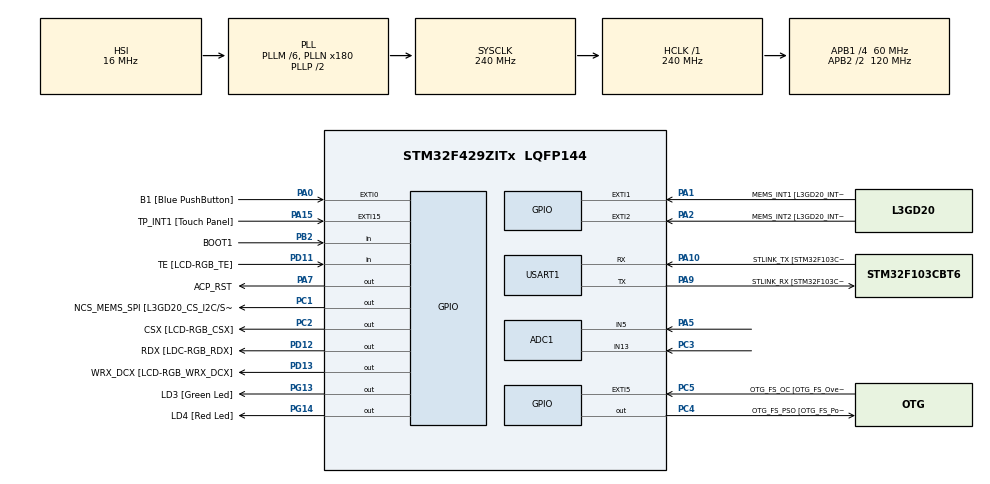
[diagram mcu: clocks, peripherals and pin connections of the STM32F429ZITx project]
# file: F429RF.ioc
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ADC1.Channel-0\#ChannelRegularConversion=ADC_CHANNEL_13
ADC1.Channel-1\#ChannelRegularConversion=ADC_CHANNEL_5
ADC1.ClockPrescaler=ADC_CLOCK_SYNC_PCLK_DIV4
ADC1.ContinuousConvMode=DISABLE
ADC1.DMAContinuousRequests=ENABLE
ADC1.NbrOfConversion=2
ADC1.NbrOfConversionFlag=1
ADC1.Rank-0\#ChannelRegularConversion=1
ADC1.Rank-1\#ChannelRegularConversion=2
ADC1.SamplingTime-0\#ChannelRegularConversion=ADC_SAMPLETIME_15CYCLES
ADC1.SamplingTime-1\#ChannelRegularConversion=ADC_SAMPLETIME_15CYCLES
ADC1.master=1
Dma.ADC1.0.Direction=DMA_PERIPH_TO_MEMORY
Dma.ADC1.0.FIFOMode=DMA_FIFOMODE_DISABLE
Dma.ADC1.0.Instance=DMA2_Stream0
Dma.ADC1.0.MemDataAlignment=DMA_MDATAALIGN_HALFWORD
Dma.ADC1.0.MemInc=DMA_MINC_ENABLE
Dma.ADC1.0.Mode=DMA_CIRCULAR
Dma.ADC1.0.PeriphDataAlignment=DMA_PDATAALIGN_HALFWORD
Dma.ADC1.0.PeriphInc=DMA_PINC_DISABLE
Dma.ADC1.0.Priority=DMA_PRIORITY_LOW
Dma.Request0=ADC1
Mcu.Family=STM32F4
Mcu.Name=STM32F429ZITx
Mcu.Package=LQFP144
NVIC.ADC_IRQn=true\:0\:0\:false\:false\:true\:true\:true\:true
NVIC.DMA2_Stream0_IRQn=true\:0\:0\:false\:false\:true\:false\:true\:true
NVIC.PriorityGroup=NVIC_PRIORITYGROUP_0
NVIC.TIM1_UP_TIM10_IRQn=true\:0\:0\:false\:false\:true\:true\:true\:true
NVIC.USART1_IRQn=true\:0\:0\:false\:false\:true\:true\:true\:true
PA0/WKUP.GPIO_Label=B1 [Blue PushButton]
PA0/WKUP.GPIO_ModeDefaultEXTI=GPIO_MODE_EVT_RISING
PA0/WKUP.GPIO_PuPd=GPIO_NOPULL
PA0/WKUP.Signal=GPXTI0
PA1.GPIO_Label=MEMS_INT1 [L3GD20_INT1]
PA1.GPIO_ModeDefaultEXTI=GPIO_MODE_EVT_RISING
PA1.GPIO_PuPd=GPIO_NOPULL
PA1.Signal=GPXTI1
PA10.GPIO_Label=STLINK_TX [STM32F103CBT6_PA2]
PA10.Mode=Asynchronous
PA10.Signal=USART1_RX
PA11.GPIO_Label=R4
PA11.GPIO_Mode=GPIO_MODE_AF_PP
PA11.GPIO_PuPd=GPIO_NOPULL
PA11.GPIO_Speed=GPIO_SPEED_FREQ_LOW
PA11.Signal=LTDC_R4
PA12.GPIO_Label=R5
PA12.GPIO_Mode=GPIO_MODE_AF_PP
PA12.GPIO_PuPd=GPIO_NOPULL
PA12.GPIO_Speed=GPIO_SPEED_FREQ_LOW
PA12.Signal=LTDC_R5
PA13.GPIO_Label=SWDIO
PA13.Signal=SYS_JTMS-SWDIO
PA14.GPIO_Label=SWCLK
PA14.Signal=SYS_JTCK-SWCLK
PA15.GPIO_Label=TP_INT1 [Touch Panel]
PA15.GPIO_ModeDefaultEXTI=GPIO_MODE_EVT_RISING
PA15.GPIO_PuPd=GPIO_NOPULL
PA15.Signal=GPXTI15
PA2.GPIO_Label=MEMS_INT2 [L3GD20_INT2]
PA2.GPIO_ModeDefaultEXTI=GPIO_MODE_EVT_RISING
PA2.GPIO_PuPd=GPIO_NOPULL
PA2.Signal=GPXTI2
PA3.GPIO_Label=B5
PA3.GPIO_Mode=GPIO_MODE_AF_PP
PA3.GPIO_PuPd=GPIO_NOPULL
PA3.GPIO_Speed=GPIO_SPEED_FREQ_LOW
PA3.Signal=LTDC_B5
PA4.GPIO_Label=VSYNC
PA4.GPIO_Mode=GPIO_MODE_AF_PP
PA4.GPIO_PuPd=GPIO_NOPULL
PA4.GPIO_Speed=GPIO_SPEED_FREQ_LOW
PA4.Signal=LTDC_VSYNC
PA5.Signal=ADCx_IN5
PA6.GPIO_Label=G2
PA6.GPIO_Mode=GPIO_MODE_AF_PP
PA6.GPIO_PuPd=GPIO_NOPULL
PA6.GPIO_Speed=GPIO_SPEED_FREQ_LOW
PA6.Signal=LTDC_G2
PA7.GPIO_Label=ACP_RST
PA7.GPIO_Mode=GPIO_MODE_OUTPUT_PP
PA7.GPIO_PuPd=GPIO_NOPULL
PA7.GPIO_Speed=GPIO_SPEED_FREQ_LOW
PA7.Signal=GPIO_Output
PA8.GPIO_Label=I2C3_SCL [ACP/RF_SCL]
PA8.GPIO_Mode=GPIO_MODE_AF_OD
PA8.GPIO_PuPd=GPIO_NOPULL
PA8.GPIO_Speed=GPIO_SPEED_FREQ_LOW
PA8.Signal=I2C3_SCL
PA9.GPIO_Label=STLINK_RX [STM32F103CBT6_PA3]
PA9.Mode=Asynchronous
PA9.Signal=USART1_TX
PB0.GPIO_Label=R3
PB0.GPIO_Mode=GPIO_MODE_AF_PP
PB0.GPIO_PuPd=GPIO_NOPULL
PB0.GPIO_Speed=GPIO_SPEED_FREQ_LOW
PB0.Signal=LTDC_R3
PB1.GPIO_Label=R6
PB1.GPIO_Mode=GPIO_MODE_AF_PP
PB1.GPIO_PuPd=GPIO_NOPULL
PB1.GPIO_Speed=GPIO_SPEED_FREQ_LOW
PB1.Signal=LTDC_R6
PB10.GPIO_Label=G4
PB10.GPIO_Mode=GPIO_MODE_AF_PP
PB10.GPIO_PuPd=GPIO_NOPULL
PB10.GPIO_Speed=GPIO_SPEED_FREQ_LOW
PB10.Signal=LTDC_G4
PB11.GPIO_Label=G5
PB11.GPIO_Mode=GPIO_MODE_AF_PP
PB11.GPIO_PuPd=GPIO_NOPULL
PB11.GPIO_Speed=GPIO_SPEED_FREQ_LOW
PB11.Signal=LTDC_G5
PB12.GPIO_Label=OTG_HS_ID
PB12.GPIO_Mode=GPIO_MODE_AF_PP
PB12.GPIO_PuPd=GPIO_NOPULL
PB12.GPIO_Speed=GPIO_SPEED_FREQ_LOW
PB12.Signal=USB_OTG_HS_ID
PB13.GPIO_Label=VBUS_HS
PB13.GPIO_Mode=GPIO_MODE_INPUT
PB13.GPIO_PuPd=GPIO_NOPULL
PB13.Signal=USB_OTG_HS_VBUS
PB14.GPIO_Label=OTG_HS_DM
PB14.GPIO_Mode=GPIO_MODE_AF_PP
PB14.GPIO_PuPd=GPIO_NOPULL
PB14.GPIO_Speed=GPIO_SPEED_FREQ_LOW
PB14.Signal=USB_OTG_HS_DM
PB15.GPIO_Label=OTG_HS_DP
PB15.GPIO_Mode=GPIO_MODE_AF_PP
PB15.GPIO_PuPd=GPIO_NOPULL
PB15.GPIO_Speed=GPIO_SPEED_FREQ_LOW
PB15.Signal=USB_OTG_HS_DP
PB2/BOOT1.GPIO_Label=BOOT1
PB2/BOOT1.GPIO_Mode=GPIO_MODE_INPUT
PB2/BOOT1.GPIO_PuPd=GPIO_NOPULL
PB2/BOOT1.Signal=GPIO_Input
PB5.GPIO_Label=SDCKE1
PB5.GPIO_Mode=GPIO_MODE_AF_PP
PB5.GPIO_PuPd=GPIO_NOPULL
PB5.GPIO_Speed=GPIO_SPEED_FREQ_VERY_HIGH
PB5.Signal=FMC_SDCKE1
PB6.GPIO_Label=SDNE1 [SDRAM_CS]
PB6.GPIO_Mode=GPIO_MODE_AF_PP
PB6.GPIO_PuPd=GPIO_NOPULL
PB6.GPIO_Speed=GPIO_SPEED_FREQ_VERY_HIGH
PB6.Signal=FMC_SDNE1
PB8.GPIO_Label=B6
PB8.GPIO_Mode=GPIO_MODE_AF_PP
PB8.GPIO_PuPd=GPIO_NOPULL
PB8.GPIO_Speed=GPIO_SPEED_FREQ_LOW
PB8.Signal=LTDC_B6
PB9.GPIO_Label=B7
PB9.GPIO_Mode=GPIO_MODE_AF_PP
PB9.GPIO_PuPd=GPIO_NOPULL
PB9.GPIO_Speed=GPIO_SPEED_FREQ_LOW
PB9.Signal=LTDC_B7
PC0.GPIO_Label=SDNWE
PC0.GPIO_Mode=GPIO_MODE_AF_PP
PC0.GPIO_PuPd=GPIO_NOPULL
PC0.GPIO_Speed=GPIO_SPEED_FREQ_VERY_HIGH
PC0.Signal=FMC_SDNWE
PC1.GPIO_Label=NCS_MEMS_SPI [L3GD20_CS_I2C/SPI]
PC1.GPIO_Mode=GPIO_MODE_OUTPUT_PP
PC1.GPIO_PuPd=GPIO_NOPULL
PC1.GPIO_Speed=GPIO_SPEED_FREQ_LOW
PC1.Signal=GPIO_Output
PC10.GPIO_Label=R2
PC10.GPIO_Mode=GPIO_MODE_AF_PP
PC10.GPIO_PuPd=GPIO_NOPULL
PC10.GPIO_Speed=GPIO_SPEED_FREQ_LOW
PC10.Signal=LTDC_R2
PC14/OSC32_IN.GPIO_Label=PC14-OSC32_IN
PC14/OSC32_IN.Signal=RCC_OSC32_IN
PC15/OSC32_OUT.GPIO_Label=PC15-OSC32_OUT
PC15/OSC32_OUT.Signal=RCC_OSC32_OUT
PC2.GPIO_Label=CSX [LCD-RGB_CSX]
PC2.GPIO_Mode=GPIO_MODE_OUTPUT_PP
PC2.GPIO_PuPd=GPIO_NOPULL
PC2.GPIO_Speed=GPIO_SPEED_FREQ_LOW
PC2.Signal=GPIO_Output
PC3.Signal=ADCx_IN13
PC4.GPIO_Label=OTG_FS_PSO [OTG_FS_PowerSwitchOn]
PC4.GPIO_Mode=GPIO_MODE_OUTPUT_PP
PC4.GPIO_PuPd=GPIO_NOPULL
PC4.GPIO_Speed=GPIO_SPEED_FREQ_LOW
PC4.Signal=GPIO_Output
PC5.GPIO_Label=OTG_FS_OC [OTG_FS_OverCurrent]
PC5.GPIO_ModeDefaultEXTI=GPIO_MODE_EVT_RISING
PC5.Signal=GPXTI5
PC6.GPIO_Label=HSYNC
PC6.GPIO_Mode=GPIO_MODE_AF_PP
PC6.GPIO_PuPd=GPIO_NOPULL
PC6.GPIO_Speed=GPIO_SPEED_FREQ_LOW
PC6.Signal=LTDC_HSYNC
PC7.GPIO_Label=G6
PC7.GPIO_Mode=GPIO_MODE_AF_PP
PC7.GPIO_PuPd=GPIO_NOPULL
PC7.GPIO_Speed=GPIO_SPEED_FREQ_LOW
PC7.Signal=LTDC_G6
PC9.GPIO_Label=I2C3_SDA [ACP/RF_SDA]
PC9.GPIO_Mode=GPIO_MODE_AF_OD
PC9.GPIO_PuPd=GPIO_NOPULL
PC9.GPIO_Speed=GPIO_SPEED_FREQ_LOW
PC9.Signal=I2C3_SDA
PD0.GPIO_Label=D2
PD0.GPIO_Mode=GPIO_MODE_AF_PP
PD0.GPIO_PuPd=GPIO_NOPULL
PD0.GPIO_Speed=GPIO_SPEED_FREQ_VERY_HIGH
PD0.Signal=FMC_D2_DA2
PD1.GPIO_Label=D3
PD1.GPIO_Mode=GPIO_MODE_AF_PP
PD1.GPIO_PuPd=GPIO_NOPULL
PD1.GPIO_Speed=GPIO_SPEED_FREQ_VERY_HIGH
PD1.Signal=FMC_D3_DA3
PD10.GPIO_Label=D15
PD10.GPIO_Mode=GPIO_MODE_AF_PP
PD10.GPIO_PuPd=GPIO_NOPULL
PD10.GPIO_Speed=GPIO_SPEED_FREQ_VERY_HIGH
PD10.Signal=FMC_D15_DA15
PD11.GPIO_Label=TE [LCD-RGB_TE]
PD11.GPIO_Mode=GPIO_MODE_INPUT
PD11.GPIO_PuPd=GPIO_NOPULL
PD11.Signal=GPIO_Input
PD12.GPIO_Label=RDX [LDC-RGB_RDX]
PD12.GPIO_Mode=GPIO_MODE_OUTPUT_PP
PD12.GPIO_PuPd=GPIO_NOPULL
PD12.GPIO_Speed=GPIO_SPEED_FREQ_LOW
PD12.Signal=GPIO_Output
PD13.GPIO_Label=WRX_DCX [LCD-RGB_WRX_DCX]
PD13.GPIO_Mode=GPIO_MODE_OUTPUT_PP
PD13.GPIO_PuPd=GPIO_NOPULL
PD13.GPIO_Speed=GPIO_SPEED_FREQ_LOW
PD13.Signal=GPIO_Output
PD14.GPIO_Label=D0
PD14.GPIO_Mode=GPIO_MODE_AF_PP
PD14.GPIO_PuPd=GPIO_NOPULL
PD14.GPIO_Speed=GPIO_SPEED_FREQ_VERY_HIGH
PD14.Signal=FMC_D0_DA0
PD15.GPIO_Label=D1
PD15.GPIO_Mode=GPIO_MODE_AF_PP
PD15.GPIO_PuPd=GPIO_NOPULL
PD15.GPIO_Speed=GPIO_SPEED_FREQ_VERY_HIGH
PD15.Signal=FMC_D1_DA1
PD3.GPIO_Label=G7
PD3.GPIO_Mode=GPIO_MODE_AF_PP
PD3.GPIO_PuPd=GPIO_NOPULL
PD3.GPIO_Speed=GPIO_SPEED_FREQ_LOW
PD3.Signal=LTDC_G7
PD6.GPIO_Label=B2
PD6.GPIO_Mode=GPIO_MODE_AF_PP
PD6.GPIO_PuPd=GPIO_NOPULL
PD6.GPIO_Speed=GPIO_SPEED_FREQ_LOW
PD6.Signal=LTDC_B2
PD8.GPIO_Label=D13
PD8.GPIO_Mode=GPIO_MODE_AF_PP
PD8.GPIO_PuPd=GPIO_NOPULL
PD8.GPIO_Speed=GPIO_SPEED_FREQ_VERY_HIGH
PD8.Signal=FMC_D13_DA13
PD9.GPIO_Label=D14
PD9.GPIO_Mode=GPIO_MODE_AF_PP
PD9.GPIO_PuPd=GPIO_NOPULL
PD9.GPIO_Speed=GPIO_SPEED_FREQ_VERY_HIGH
PD9.Signal=FMC_D14_DA14
PE0.GPIO_Label=NBL0 [SDRAM_LDQM]
PE0.GPIO_Mode=GPIO_MODE_AF_PP
PE0.GPIO_PuPd=GPIO_NOPULL
PE0.GPIO_Speed=GPIO_SPEED_FREQ_VERY_HIGH
PE0.Signal=FMC_NBL0
PE1.GPIO_Label=NBL1 [SDRAM_UDQM]
PE1.GPIO_Mode=GPIO_MODE_AF_PP
PE1.GPIO_PuPd=GPIO_NOPULL
PE1.GPIO_Speed=GPIO_SPEED_FREQ_VERY_HIGH
PE1.Signal=FMC_NBL1
PE10.GPIO_Label=D7
PE10.GPIO_Mode=GPIO_MODE_AF_PP
PE10.GPIO_PuPd=GPIO_NOPULL
PE10.GPIO_Speed=GPIO_SPEED_FREQ_VERY_HIGH
PE10.Signal=FMC_D7_DA7
PE11.GPIO_Label=D8
PE11.GPIO_Mode=GPIO_MODE_AF_PP
PE11.GPIO_PuPd=GPIO_NOPULL
PE11.GPIO_Speed=GPIO_SPEED_FREQ_VERY_HIGH
PE11.Signal=FMC_D8_DA8
PE12.GPIO_Label=D9
PE12.GPIO_Mode=GPIO_MODE_AF_PP
PE12.GPIO_PuPd=GPIO_NOPULL
PE12.GPIO_Speed=GPIO_SPEED_FREQ_VERY_HIGH
PE12.Signal=FMC_D9_DA9
PE13.GPIO_Label=D10
PE13.GPIO_Mode=GPIO_MODE_AF_PP
PE13.GPIO_PuPd=GPIO_NOPULL
PE13.GPIO_Speed=GPIO_SPEED_FREQ_VERY_HIGH
PE13.Signal=FMC_D10_DA10
PE14.GPIO_Label=D11
PE14.GPIO_Mode=GPIO_MODE_AF_PP
PE14.GPIO_PuPd=GPIO_NOPULL
PE14.GPIO_Speed=GPIO_SPEED_FREQ_VERY_HIGH
PE14.Signal=FMC_D11_DA11
PE15.GPIO_Label=D12
PE15.GPIO_Mode=GPIO_MODE_AF_PP
PE15.GPIO_PuPd=GPIO_NOPULL
PE15.GPIO_Speed=GPIO_SPEED_FREQ_VERY_HIGH
PE15.Signal=FMC_D12_DA12
PE7.GPIO_Label=D4
PE7.GPIO_Mode=GPIO_MODE_AF_PP
PE7.GPIO_PuPd=GPIO_NOPULL
PE7.GPIO_Speed=GPIO_SPEED_FREQ_VERY_HIGH
PE7.Signal=FMC_D4_DA4
PE8.GPIO_Label=D5
PE8.GPIO_Mode=GPIO_MODE_AF_PP
PE8.GPIO_PuPd=GPIO_NOPULL
PE8.GPIO_Speed=GPIO_SPEED_FREQ_VERY_HIGH
PE8.Signal=FMC_D5_DA5
PE9.GPIO_Label=D6
PE9.GPIO_Mode=GPIO_MODE_AF_PP
PE9.GPIO_PuPd=GPIO_NOPULL
PE9.GPIO_Speed=GPIO_SPEED_FREQ_VERY_HIGH
PE9.Signal=FMC_D6_DA6
PF0.GPIO_Label=A0
PF0.GPIO_Mode=GPIO_MODE_AF_PP
PF0.GPIO_PuPd=GPIO_NOPULL
PF0.GPIO_Speed=GPIO_SPEED_FREQ_VERY_HIGH
PF0.Signal=FMC_A0
PF1.GPIO_Label=A1
PF1.GPIO_Mode=GPIO_MODE_AF_PP
PF1.GPIO_PuPd=GPIO_NOPULL
PF1.GPIO_Speed=GPIO_SPEED_FREQ_VERY_HIGH
PF1.Signal=FMC_A1
PF10.GPIO_Label=ENABLE [LCD-RGB_ENABLE]
PF10.GPIO_Mode=GPIO_MODE_AF_PP
PF10.GPIO_PuPd=GPIO_NOPULL
PF10.GPIO_Speed=GPIO_SPEED_FREQ_LOW
PF10.Signal=LTDC_DE
PF11.GPIO_Label=SDNRAS
PF11.GPIO_Mode=GPIO_MODE_AF_PP
PF11.GPIO_PuPd=GPIO_NOPULL
PF11.GPIO_Speed=GPIO_SPEED_FREQ_VERY_HIGH
PF11.Signal=FMC_SDNRAS
PF12.GPIO_Label=A6
PF12.GPIO_Mode=GPIO_MODE_AF_PP
PF12.GPIO_PuPd=GPIO_NOPULL
PF12.GPIO_Speed=GPIO_SPEED_FREQ_VERY_HIGH
PF12.Signal=FMC_A6
PF13.GPIO_Label=A7
PF13.GPIO_Mode=GPIO_MODE_AF_PP
PF13.GPIO_PuPd=GPIO_NOPULL
PF13.GPIO_Speed=GPIO_SPEED_FREQ_VERY_HIGH
PF13.Signal=FMC_A7
PF14.GPIO_Label=A8
PF14.GPIO_Mode=GPIO_MODE_AF_PP
PF14.GPIO_PuPd=GPIO_NOPULL
PF14.GPIO_Speed=GPIO_SPEED_FREQ_VERY_HIGH
PF14.Signal=FMC_A8
PF15.GPIO_Label=A9
PF15.GPIO_Mode=GPIO_MODE_AF_PP
PF15.GPIO_PuPd=GPIO_NOPULL
PF15.GPIO_Speed=GPIO_SPEED_FREQ_VERY_HIGH
PF15.Signal=FMC_A9
PF2.GPIO_Label=A2
PF2.GPIO_Mode=GPIO_MODE_AF_PP
PF2.GPIO_PuPd=GPIO_NOPULL
PF2.GPIO_Speed=GPIO_SPEED_FREQ_VERY_HIGH
PF2.Signal=FMC_A2
PF3.GPIO_Label=A3
PF3.GPIO_Mode=GPIO_MODE_AF_PP
PF3.GPIO_PuPd=GPIO_NOPULL
PF3.GPIO_Speed=GPIO_SPEED_FREQ_VERY_HIGH
PF3.Signal=FMC_A3
PF4.GPIO_Label=A4
PF4.GPIO_Mode=GPIO_MODE_AF_PP
PF4.GPIO_PuPd=GPIO_NOPULL
PF4.GPIO_Speed=GPIO_SPEED_FREQ_VERY_HIGH
PF4.Signal=FMC_A4
PF5.GPIO_Label=A5
PF5.GPIO_Mode=GPIO_MODE_AF_PP
PF5.GPIO_PuPd=GPIO_NOPULL
PF5.GPIO_Speed=GPIO_SPEED_FREQ_VERY_HIGH
PF5.Signal=FMC_A5
PF7.GPIO_Label=SPI5_SCK [L3GD20_SCL/SPC]
PF7.GPIO_Mode=GPIO_MODE_AF_PP
PF7.GPIO_PuPd=GPIO_NOPULL
PF7.GPIO_Speed=GPIO_SPEED_FREQ_LOW
PF7.Signal=SPI5_SCK
PF8.GPIO_Label=SPI5_MISO [L3GD20_SDO]
PF8.GPIO_Mode=GPIO_MODE_AF_PP
PF8.GPIO_PuPd=GPIO_NOPULL
PF8.GPIO_Speed=GPIO_SPEED_FREQ_LOW
PF8.Signal=SPI5_MISO
PF9.GPIO_Label=SPI5_MOSI [L3GD20_SDA/SDI/SDO]
PF9.GPIO_Mode=GPIO_MODE_AF_PP
PF9.GPIO_PuPd=GPIO_NOPULL
PF9.GPIO_Speed=GPIO_SPEED_FREQ_LOW
PF9.Signal=SPI5_MOSI
PG0.GPIO_Label=A10
PG0.GPIO_Mode=GPIO_MODE_AF_PP
PG0.GPIO_PuPd=GPIO_NOPULL
PG0.GPIO_Speed=GPIO_SPEED_FREQ_VERY_HIGH
PG0.Signal=FMC_A10
PG1.GPIO_Label=A11
PG1.GPIO_Mode=GPIO_MODE_AF_PP
PG1.GPIO_PuPd=GPIO_NOPULL
PG1.GPIO_Speed=GPIO_SPEED_FREQ_VERY_HIGH
PG1.Signal=FMC_A11
PG10.GPIO_Label=G3
PG10.GPIO_Mode=GPIO_MODE_AF_PP
PG10.GPIO_PuPd=GPIO_NOPULL
PG10.GPIO_Speed=GPIO_SPEED_FREQ_LOW
PG10.Signal=LTDC_G3
PG11.GPIO_Label=B3
PG11.GPIO_Mode=GPIO_MODE_AF_PP
PG11.GPIO_PuPd=GPIO_NOPULL
PG11.GPIO_Speed=GPIO_SPEED_FREQ_LOW
PG11.Signal=LTDC_B3
PG12.GPIO_Label=B4
PG12.GPIO_Mode=GPIO_MODE_AF_PP
PG12.GPIO_PuPd=GPIO_NOPULL
PG12.GPIO_Speed=GPIO_SPEED_FREQ_LOW
PG12.Signal=LTDC_B4
PG13.GPIO_Label=LD3 [Green Led]
PG13.GPIO_Mode=GPIO_MODE_OUTPUT_PP
PG13.GPIO_PuPd=GPIO_NOPULL
PG13.GPIO_Speed=GPIO_SPEED_FREQ_LOW
PG13.Signal=GPIO_Output
PG14.GPIO_Label=LD4 [Red Led]
PG14.GPIO_Mode=GPIO_MODE_OUTPUT_PP
PG14.GPIO_PuPd=GPIO_NOPULL
PG14.GPIO_Speed=GPIO_SPEED_FREQ_LOW
PG14.Signal=GPIO_Output
PG15.GPIO_Label=SDNCAS
PG15.GPIO_Mode=GPIO_MODE_AF_PP
PG15.GPIO_PuPd=GPIO_NOPULL
PG15.GPIO_Speed=GPIO_SPEED_FREQ_VERY_HIGH
PG15.Signal=FMC_SDNCAS
PG4.GPIO_Label=BA0
PG4.GPIO_Mode=GPIO_MODE_AF_PP
PG4.GPIO_PuPd=GPIO_NOPULL
PG4.GPIO_Speed=GPIO_SPEED_FREQ_VERY_HIGH
PG4.Signal=FMC_A14_BA0
PG5.GPIO_Label=BA1
PG5.GPIO_Mode=GPIO_MODE_AF_PP
PG5.GPIO_PuPd=GPIO_NOPULL
PG5.GPIO_Speed=GPIO_SPEED_FREQ_VERY_HIGH
PG5.Signal=FMC_A15_BA1
PG6.GPIO_Label=R7
PG6.GPIO_Mode=GPIO_MODE_AF_PP
PG6.GPIO_PuPd=GPIO_NOPULL
PG6.GPIO_Speed=GPIO_SPEED_FREQ_LOW
PG6.Signal=LTDC_R7
PG7.GPIO_Label=DOTCLK [LCT-RGB_DOTCLK]
PG7.GPIO_Mode=GPIO_MODE_AF_PP
PG7.GPIO_PuPd=GPIO_NOPULL
PG7.GPIO_Speed=GPIO_SPEED_FREQ_LOW
PG7.Signal=LTDC_CLK
PG8.GPIO_Label=SDCLK
PG8.GPIO_Mode=GPIO_MODE_AF_PP
PG8.GPIO_PuPd=GPIO_NOPULL
PG8.GPIO_Speed=GPIO_SPEED_FREQ_VERY_HIGH
PG8.Signal=FMC_SDCLK
PH0/OSC_IN.GPIO_Label=PH0-OSC_IN
PH0/OSC_IN.Mode=HSE-External-Oscillator
PH0/OSC_IN.Signal=RCC_OSC_IN
PH1/OSC_OUT.GPIO_Label=PH1-OSC_OUT
PH1/OSC_OUT.Mode=HSE-External-Oscillator
PH1/OSC_OUT.Signal=RCC_OSC_OUT
ProjectManager.HeapSize=0x200
ProjectManager.StackSize=0x400
ProjectManager.TargetToolchain=STM32CubeIDE
RCC.48MHZClocksFreq_Value=68571428.57142857
RCC.AHBFreq_Value=240000000
RCC.APB1CLKDivider=RCC_HCLK_DIV4
RCC.APB1Freq_Value=60000000
RCC.APB1TimFreq_Value=120000000
RCC.APB2CLKDivider=RCC_HCLK_DIV2
RCC.APB2Freq_Value=120000000
RCC.APB2TimFreq_Value=240000000
RCC.CortexFreq_Value=240000000
RCC.HCLKFreq_Value=240000000
RCC.HSE_VALUE=8000000
RCC.HSI_VALUE=16000000
RCC.LSE_VALUE=32768
RCC.PLLM=6
RCC.PLLN=180
RCC.PLLQ=7
RCC.SYSCLKFreq_VALUE=240000000
RCC.SYSCLKSource=RCC_SYSCLKSOURCE_PLLCLK
RCC.VCOOutputFreq_Value=480000000
SH.ADCx_IN13.0=ADC1_IN13,IN13
SH.ADCx_IN5.0=ADC1_IN5,IN5
SH.FMC_A0.0=FMC_A0
SH.FMC_A1.0=FMC_A1
SH.FMC_A10.0=FMC_A10
SH.FMC_A11.0=FMC_A11
SH.FMC_A14_BA0.0=FMC_BA0
SH.FMC_A15_BA1.0=FMC_BA1
SH.FMC_A2.0=FMC_A2
SH.FMC_A3.0=FMC_A3
SH.FMC_A4.0=FMC_A4
SH.FMC_A5.0=FMC_A5
SH.FMC_A6.0=FMC_A6
SH.FMC_A7.0=FMC_A7
SH.FMC_A8.0=FMC_A8
SH.FMC_A9.0=FMC_A9
SH.FMC_D0_DA0.0=FMC_D0
SH.FMC_D10_DA10.0=FMC_D10
SH.FMC_D11_DA11.0=FMC_D11
SH.FMC_D12_DA12.0=FMC_D12
SH.FMC_D13_DA13.0=FMC_D13
SH.FMC_D14_DA14.0=FMC_D14
SH.FMC_D15_DA15.0=FMC_D15
SH.FMC_D1_DA1.0=FMC_D1
SH.FMC_D2_DA2.0=FMC_D2
SH.FMC_D3_DA3.0=FMC_D3
SH.FMC_D4_DA4.0=FMC_D4
SH.FMC_D5_DA5.0=FMC_D5
SH.FMC_D6_DA6.0=FMC_D6
SH.FMC_D7_DA7.0=FMC_D7
SH.FMC_D8_DA8.0=FMC_D8
SH.FMC_D9_DA9.0=FMC_D9
SH.FMC_NBL0.0=FMC_NBL0
SH.FMC_NBL1.0=FMC_NBL1
SH.FMC_SDCLK.0=FMC_SDCLK
SH.FMC_SDNCAS.0=FMC_SDNCAS
SH.FMC_SDNRAS.0=FMC_SDNRAS
SH.FMC_SDNWE.0=FMC_SDNWE
TIM1.AutoReloadPreload=TIM_AUTORELOAD_PRELOAD_ENABLE
TIM1.Period=10
TIM1.Prescaler=6
TIM1.TIM_MasterOutputTrigger=TIM_TRGO_UPDATE
USART1.VirtualMode=VM_ASYNC
VP_TIM1_VS_ClockSourceINT.Mode=Internal
board=STM32F429I-DISC1

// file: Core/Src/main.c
/* USER CODE BEGIN Header */
/**
  ******************************************************************************
  * @file           : main.c
  * @brief          : Main program body
  ******************************************************************************
  * @attention
  *
  * Copyright (c) 2024 STMicroelectronics.
  * All rights reserved.
  *
  * This software is licensed under terms that can be found in the LICENSE file
  * in the root directory of this software component.
  * If no LICENSE file comes with this software, it is provided AS-IS.
  *
  ******************************************************************************
  */
/* USER CODE END Header */
#include "main.h"

/* USER CODE BEGIN Includes */

#include <stdio.h>
#include <string.h>
#include <stdarg.h> //for va_list var arg functions

/* USER CODE END Includes */

ADC_HandleTypeDef hadc1;
DMA_HandleTypeDef hdma_adc1;

TIM_HandleTypeDef htim1;

UART_HandleTypeDef huart1;

/* USER CODE BEGIN PV */

uint16_t adraw[2];
uint8_t uart1_raw[10];
volatile int rx_flagA = 0;
volatile int rx_flagB = 0;

volatile int rx_flagC = 0;
volatile int rx_flagD = 0;

/* USER CODE END PV */

void SystemClock_Config(void);
static void MX_GPIO_Init(void);
static void MX_DMA_Init(void);
static void MX_ADC1_Init(void);
static void MX_USART1_UART_Init(void);
static void MX_TIM1_Init(void);
/* USER CODE BEGIN PFP */
void myprintf(const char *fmt, ...);
/* USER CODE END PFP */

/* USER CODE BEGIN 0 */

void myprintf(const char *fmt, ...) {
  static char buffer[100];
  va_list args;
  va_start(args, fmt);
  vsnprintf(buffer, sizeof(buffer), fmt, args);
  va_end(args);

  int len = strlen(buffer);
  HAL_UART_Transmit(&huart1, (uint8_t*)buffer, len, -1);

}

char writeBuf[100];

char strA1[50];
volatile uint16_t ad1_raw[5];
const int adcChannelCount = 2;
volatile int adcConversionComplete = 0;
volatile int lock = 0;
volatile uint32_t millis = 0;
volatile uint32_t conv_rate = 0;

uint32_t ad1 = 0;
uint32_t ad2 = 0;

int32_t sawtooth_buf1[200];
int32_t sawtooth_buf2[200];
int32_t signal_buf[200];
int32_t signal_buf1[200];
int32_t signal_buf2[200];
int32_t kalman_buf1[200];
int32_t kalman_buf2[200];
int32_t peaks_buff1[200];
int32_t peaks_buff2[200];
volatile int signal_buffer_in_queue = 1;
volatile int gidxB = 0;
volatile int gidxA = 0;

volatile uint32_t relative_sawtooth_voltage = 0;

int FindPeak(uint32_t *sig)
{
	int fidxA = 0;

	if((sig[0] < sig[1]) && (sig[2] < sig[1]))
	{
		return 1;
	}
	else
	{
		return 0;
	}
}

void insert_new_value(int32_t *buf, int32_t new_value)
{
	for(gidxA=0;gidxA<199;gidxA++)
	{
		buf[gidxA] = buf[gidxA+1];
	}

	buf[199] = new_value;
}

int flag_FallingEdge = 0;
int flag_saving = 0;

int file_name_index = 0;

int log_file_opened = 0;

static float ADC_OLD_Value;
static float P_k1_k1;

static float Q = 0.0001;//Q: Regulation noise, Q increases, dynamic response becomes faster, and convergence stability becomes worse
//static float Q = 0.0005;//Q: Regulation noise, Q increases, dynamic response becomes faster, and convergence stability becomes worse
static float R = 0.005; //R: Test noise, R increases, dynamic response becomes slower, convergence stability becomes better
//static float R = 0.2;
static float Kg = 0;
static float P_k_k1 = 0.5;
static float kalman_adc_old=0;
static int kalman_adc_int = 0;

unsigned long kalman_filter(unsigned long ADC_Value)
{
    float x_k1_k1,x_k_k1;
    //static float ADC_OLD_Value;
    float Z_k;

    float kalman_adc;

    Z_k = ADC_Value;
    x_k1_k1 = kalman_adc_old;

    x_k_k1 = x_k1_k1;
    P_k_k1 = P_k1_k1 + Q;

    Kg = P_k_k1/(P_k_k1 + R);

    kalman_adc = x_k_k1 + Kg * (Z_k - kalman_adc_old);
    P_k1_k1 = (1 - Kg)*P_k_k1;
    P_k_k1 = P_k1_k1;

    ADC_OLD_Value = ADC_Value;
    kalman_adc_old = kalman_adc;
    kalman_adc_int = (int)kalman_adc;
    return kalman_adc;
}

int getSimplifiedSlope(int32_t *buf)
{
	int32_t avg1 = (buf[0] + buf[1] + buf[2] + buf[3] + buf[4]) / 5;
	int32_t avg2 = (buf[5] + buf[6] + buf[7] + buf[8] + buf[9]) / 5;

	if((avg1 - avg2) > 1000)
	{
		return 1;
	}
	else
	{
		return 0;
	}
}

int max = 0;
int min = 5000;

int gmaxA = 0;
int gminA = 0;
int midlineA = 0;
int dripOff = 0;

int32_t GetMidLine(int32_t *gbuff, uint32_t sz)
{
	int lidxA = 0;

	for(lidxA = 1; lidxA<(sz - 1 ); lidxA++)
	{
		if(gbuff[lidxA] > max)
		{
			max = gbuff[lidxA];
		}
	}

	for(lidxA = 1; lidxA<(sz - 1 ); lidxA++)
	{
		if(gbuff[lidxA] < min)
		{
			min = gbuff[lidxA];
		}
	}

	return (((max - min)/2) + min);
}

void HAL_ADC_ConvCpltCallback(ADC_HandleTypeDef* hadc)
{
	adcConversionComplete = 1;
	ad1 = adraw[1]; // HAL_ADC_GetValue(&hadc1);
	ad2 = adraw[0]; // HAL_ADC_GetValue(&hadc1);
	conv_rate++;

	//insert_new_value(sawtooth_buf, (int32_t)ad1);
	//insert_new_value(signal_buf, (int32_t)ad2);

	if(rx_flagA == 0)
	{
		if(gidxB == 200)
		{
			if(signal_buffer_in_queue == 1)
			{
				signal_buffer_in_queue = 2;
			}
			else
			{
				signal_buffer_in_queue = 1;
			}
			gidxB = 0;
		}

		if(gidxB > 5)
		{
			if(gmaxA < kalman_buf1[gidxB])
			{
				gmaxA = kalman_buf1[gidxB];
			}

			if(gminA > kalman_buf1[gidxB])
			{
				gminA = kalman_buf1[gidxB];
			}

//			if((sawtooth_buf1[gidxB - 1] - sawtooth_buf1[gidxB]) > 500)
//			{
//				dripOff = 5;
//			}
		}

		if(gidxB == 195)
		{
			midlineA = (((gmaxA - gminA)/2) + gminA);
		}

		if(signal_buffer_in_queue == 1)
		{
			signal_buf1[gidxB] = ad1;
			sawtooth_buf1[gidxB] = ad2;
			kalman_buf1[gidxB] = kalman_filter(signal_buf1[gidxB]);

			if(gidxB==0)
			{
				gminA = kalman_buf1[0];
				gmaxA = kalman_buf1[0];
			}

			if((gidxB >= 5) && (gidxB < 190))
			{

				if(FindPeak(&kalman_buf1[gidxB-3]) && (kalman_buf1[gidxB-3] > midlineA))
				{
					if(dripOff == 0)
					{
						peaks_buff1[gidxB] = 2000;
						dripOff = 22;
						relative_sawtooth_voltage = (33000000 / 4096) * sawtooth_buf1[gidxB-3]; // sawtooth_buf1[gidxB-3]; //
					}
					else
					{
						peaks_buff1[gidxB] = 500;
					}
				}
				else
				{
					peaks_buff1[gidxB] = 500;
				}
			}
			else
			{
				peaks_buff1[gidxB] = 500;
			}
		}
		else
		{
			signal_buf2[gidxB] = ad1;
			sawtooth_buf2[gidxB] = ad2;
			kalman_buf2[gidxB] = kalman_filter(signal_buf2[gidxB]);

			if(gidxB==0)
			{
				gminA = kalman_buf2[0];
				gmaxA = kalman_buf2[0];
			}

			if((gidxB >= 5) && (gidxB < 190))
			{
				if(FindPeak(&kalman_buf2[gidxB-3]) && (kalman_buf2[gidxB-3] > midlineA))
				{
					if(dripOff == 0)
					{
						peaks_buff2[gidxB] = 2000;
						relative_sawtooth_voltage = (3300000 / 4096) * sawtooth_buf2[gidxB-3]; // sawtooth_buf2[gidxB-3]; //
						dripOff = 20;
					}
					else
					{
						peaks_buff2[gidxB] = 500;
					}
				}
				else
				{
					peaks_buff2[gidxB] = 500;
				}
			}
			else
			{
				peaks_buff2[gidxB] = 500;
			}
		}
		gidxB++;
		if(dripOff > 0)
		{
			dripOff--;
		}
	}

	// HAL_ADC_Start_IT(&hadc1);
	HAL_ADC_Start_DMA(&hadc1, (uint32_t *)adraw, adcChannelCount);
}

uint32_t crate = 0;

uint32_t __t2_cntr = 0;
uint32_t __dripA = 0;
uint32_t flag_saving_interval = 0;

void HAL_TIM_PeriodElapsedCallback(TIM_HandleTypeDef *htim)
{
	if(htim == &htim1)
	{
		if(__t2_cntr < 3)
		{
			__t2_cntr++;
		}
		else
		{
			__t2_cntr = 0;
		}

		if(__dripA > 0)
		{
			__dripA++;

			if(__dripA > 1500) // 500uS
			{
				flag_FallingEdge = 0;
				__dripA = 0;
			}
		}

		if(flag_saving_interval > 0)
		{
			if(flag_saving_interval == 1)
			{
				//endWriting(&log_file);
			}
			flag_saving_interval--;
		}
	}
}

void HAL_UART_RxCpltCallback(UART_HandleTypeDef *huart)
{
	if(huart == &huart1)
	{
		if(uart1_raw[0] == 'a')
		{
			rx_flagA = 1;
		}

		if(uart1_raw[0] == 'b')
		{
			rx_flagB = 1;
		}

		if(uart1_raw[0] == 'c')
		{
			rx_flagC = 1;
		}

		if(uart1_raw[0] == 'd')
		{
			rx_flagD = 1;
		}
	}
	HAL_UART_Receive_IT(&huart1, uart1_raw, 1);
}

void HAL_UART_TxCpltCallback(UART_HandleTypeDef *huart)
{
	;
}

/* USER CODE END 0 */

int main(void)
{
  /* USER CODE BEGIN 1 */

	uint32_t a_shot = 0;
	uint32_t b_shot = 0;

	int lidxA = 0;

  /* USER CODE END 1 */

  /* MCU Configuration--------------------------------------------------------*/

  /* Reset of all peripherals, Initializes the Flash interface and the Systick. */
  HAL_Init();

  /* Configure the system clock */
  SystemClock_Config();

  /* Initialize all configured peripherals */
  MX_GPIO_Init();
  MX_DMA_Init();
  MX_ADC1_Init();
  MX_USART1_UART_Init();
  MX_TIM1_Init();
  /* USER CODE BEGIN 2 */

  HAL_ADC_Start_DMA(&hadc1, (uint32_t *)adraw, adcChannelCount);
  HAL_TIM_Base_Start(&htim1);

  HAL_UART_Receive_IT(&huart1, uart1_raw, 1);

  HAL_Delay(500);

  myprintf("Starting ... \r\n");
  myprintf("... ... \r\n");

  int rateA = 0;

  /* USER CODE END 2 */

  /* Infinite loop */
  /* USER CODE BEGIN WHILE */
  while (1)
  {

	millis = HAL_GetTick();

	if(HAL_GetTick() > (a_shot + 500))
	{
	  a_shot = HAL_GetTick();
	  rateA = (conv_rate * 2);
	  conv_rate = 0;

	  float t = millis/1000.0;
		  if(rx_flagA == 1)
		  {
			  if(adcConversionComplete == 1)
			  {
				  adcConversionComplete = 0;
				  HAL_NVIC_DisableIRQ(DMA2_Stream0_IRQn);
				  for(lidxA=0;lidxA<200;lidxA++)
				  {
					  //myprintf("A0:%d, A1:%d\n", signal_buf[lidxA], sawtooth_buf[lidxA]);
					  if(signal_buffer_in_queue == 2)
					  {
						  //myprintf("A0:%d\n", signal_buf1[lidxA]);
						  myprintf("%d,%d,%d,%d,%d\r\n", signal_buf1[lidxA], sawtooth_buf1[lidxA], kalman_buf1[lidxA], peaks_buff1[lidxA], midlineA); //GetMidLine(kalman_buf1, 200));
					  }
					  else
					  {
						  //myprintf("A0:%d\n", signal_buf2[lidxA]);
						  myprintf("%d,%d,%d,%d,%d\r\n", signal_buf2[lidxA], sawtooth_buf2[lidxA], kalman_buf2[lidxA], peaks_buff2[lidxA], midlineA); // GetMidLine(kalman_buf2, 200));
					  }
				  }
			  }
			  HAL_Delay(2500);
			  gidxB = 0; // Fresh Copy of ADC
			  rx_flagA = 0;
			  rx_flagB = 0;
			  HAL_NVIC_EnableIRQ(DMA2_Stream0_IRQn);
		  }

		  if(rx_flagB == 1)
		  {
			  myprintf("Sawtooth Voltage : %d\r\n", relative_sawtooth_voltage);
			  HAL_Delay(100);
			  rx_flagB = 0;
		  }

		  if(rx_flagC == 1)
		  {
			  myprintf("Freq : %d  Rate: %d \r\n", ((relative_sawtooth_voltage * 4170) + 5500), rateA);
		  }

		  if(rx_flagD == 1)
		  {
			  rx_flagD = 0;
			  rx_flagC = 0;
		  }
		}

	}

    /* USER CODE END WHILE */

}

void SystemClock_Config(void)
{
  RCC_OscInitTypeDef RCC_OscInitStruct = {0};
  RCC_ClkInitTypeDef RCC_ClkInitStruct = {0};

  /** Configure the main internal regulator output voltage
  */
  __HAL_RCC_PWR_CLK_ENABLE();
  __HAL_PWR_VOLTAGESCALING_CONFIG(PWR_REGULATOR_VOLTAGE_SCALE1);

  /** Initializes the RCC Oscillators according to the specified parameters
  * in the RCC_OscInitTypeDef structure.
  */
  RCC_OscInitStruct.OscillatorType = RCC_OSCILLATORTYPE_HSI;
  RCC_OscInitStruct.HSIState = RCC_HSI_ON;
  RCC_OscInitStruct.HSICalibrationValue = RCC_HSICALIBRATION_DEFAULT;
  RCC_OscInitStruct.PLL.PLLState = RCC_PLL_ON;
  RCC_OscInitStruct.PLL.PLLSource = RCC_PLLSOURCE_HSI;
  RCC_OscInitStruct.PLL.PLLM = 6;
  RCC_OscInitStruct.PLL.PLLN = 180;
  RCC_OscInitStruct.PLL.PLLP = RCC_PLLP_DIV2;
  RCC_OscInitStruct.PLL.PLLQ = 7;
  if (HAL_RCC_OscConfig(&RCC_OscInitStruct) != HAL_OK)
  {
    Error_Handler();
  }

  /** Activate the Over-Drive mode
  */
  if (HAL_PWREx_EnableOverDrive() != HAL_OK)
  {
    Error_Handler();
  }

  /** Initializes the CPU, AHB and APB buses clocks
  */
  RCC_ClkInitStruct.ClockType = RCC_CLOCKTYPE_HCLK|RCC_CLOCKTYPE_SYSCLK
                              |RCC_CLOCKTYPE_PCLK1|RCC_CLOCKTYPE_PCLK2;
  RCC_ClkInitStruct.SYSCLKSource = RCC_SYSCLKSOURCE_PLLCLK;
  RCC_ClkInitStruct.AHBCLKDivider = RCC_SYSCLK_DIV1;
  RCC_ClkInitStruct.APB1CLKDivider = RCC_HCLK_DIV4;
  RCC_ClkInitStruct.APB2CLKDivider = RCC_HCLK_DIV2;

  if (HAL_RCC_ClockConfig(&RCC_ClkInitStruct, FLASH_LATENCY_5) != HAL_OK)
  {
    Error_Handler();
  }
}

static void MX_ADC1_Init(void)
{

  ADC_ChannelConfTypeDef sConfig = {0};

  /** Configure the global features of the ADC (Clock, Resolution, Data Alignment and number of conversion)
  */
  hadc1.Instance = ADC1;
  hadc1.Init.ClockPrescaler = ADC_CLOCK_SYNC_PCLK_DIV4;
  hadc1.Init.Resolution = ADC_RESOLUTION_12B;
  hadc1.Init.ScanConvMode = ENABLE;
  hadc1.Init.ContinuousConvMode = DISABLE;
  hadc1.Init.DiscontinuousConvMode = DISABLE;
  hadc1.Init.ExternalTrigConvEdge = ADC_EXTERNALTRIGCONVEDGE_NONE;
  hadc1.Init.ExternalTrigConv = ADC_SOFTWARE_START;
  hadc1.Init.DataAlign = ADC_DATAALIGN_RIGHT;
  hadc1.Init.NbrOfConversion = 2;
  hadc1.Init.DMAContinuousRequests = ENABLE;
  hadc1.Init.EOCSelection = ADC_EOC_SINGLE_CONV;
  if (HAL_ADC_Init(&hadc1) != HAL_OK)
  {
    Error_Handler();
  }

  /** Configure for the selected ADC regular channel its corresponding rank in the sequencer and its sample time.
  */
  sConfig.Channel = ADC_CHANNEL_13;
  sConfig.Rank = 1;
  sConfig.SamplingTime = ADC_SAMPLETIME_15CYCLES;
  if (HAL_ADC_ConfigChannel(&hadc1, &sConfig) != HAL_OK)
  {
    Error_Handler();
  }

  /** Configure for the selected ADC regular channel its corresponding rank in the sequencer and its sample time.
  */
  sConfig.Channel = ADC_CHANNEL_5;
  sConfig.Rank = 2;
  if (HAL_ADC_ConfigChannel(&hadc1, &sConfig) != HAL_OK)
  {
    Error_Handler();
  }

}

static void MX_TIM1_Init(void)
{

  TIM_ClockConfigTypeDef sClockSourceConfig = {0};
  TIM_MasterConfigTypeDef sMasterConfig = {0};

  htim1.Instance = TIM1;
  htim1.Init.Prescaler = 6;
  htim1.Init.CounterMode = TIM_COUNTERMODE_UP;
  htim1.Init.Period = 10;
  htim1.Init.ClockDivision = TIM_CLOCKDIVISION_DIV1;
  htim1.Init.RepetitionCounter = 0;
  htim1.Init.AutoReloadPreload = TIM_AUTORELOAD_PRELOAD_ENABLE;
  if (HAL_TIM_Base_Init(&htim1) != HAL_OK)
  {
    Error_Handler();
  }
  sClockSourceConfig.ClockSource = TIM_CLOCKSOURCE_INTERNAL;
  if (HAL_TIM_ConfigClockSource(&htim1, &sClockSourceConfig) != HAL_OK)
  {
    Error_Handler();
  }
  sMasterConfig.MasterOutputTrigger = TIM_TRGO_UPDATE;
  sMasterConfig.MasterSlaveMode = TIM_MASTERSLAVEMODE_DISABLE;
  if (HAL_TIMEx_MasterConfigSynchronization(&htim1, &sMasterConfig) != HAL_OK)
  {
    Error_Handler();
  }

}

static void MX_USART1_UART_Init(void)
{

  huart1.Instance = USART1;
  huart1.Init.BaudRate = 115200;
  huart1.Init.WordLength = UART_WORDLENGTH_8B;
  huart1.Init.StopBits = UART_STOPBITS_1;
  huart1.Init.Parity = UART_PARITY_NONE;
  huart1.Init.Mode = UART_MODE_TX_RX;
  huart1.Init.HwFlowCtl = UART_HWCONTROL_NONE;
  huart1.Init.OverSampling = UART_OVERSAMPLING_16;
  if (HAL_UART_Init(&huart1) != HAL_OK)
  {
    Error_Handler();
  }

}

static void MX_DMA_Init(void)
{

  /* DMA controller clock enable */
  __HAL_RCC_DMA2_CLK_ENABLE();

  /* DMA interrupt init */
  /* DMA2_Stream0_IRQn interrupt configuration */
  HAL_NVIC_SetPriority(DMA2_Stream0_IRQn, 0, 0);
  HAL_NVIC_EnableIRQ(DMA2_Stream0_IRQn);

}

static void MX_GPIO_Init(void)
{
  GPIO_InitTypeDef GPIO_InitStruct = {0};

  /* GPIO Ports Clock Enable */
  __HAL_RCC_GPIOC_CLK_ENABLE();
  __HAL_RCC_GPIOF_CLK_ENABLE();
  __HAL_RCC_GPIOH_CLK_ENABLE();
  __HAL_RCC_GPIOA_CLK_ENABLE();
  __HAL_RCC_GPIOB_CLK_ENABLE();
  __HAL_RCC_GPIOG_CLK_ENABLE();
  __HAL_RCC_GPIOE_CLK_ENABLE();
  __HAL_RCC_GPIOD_CLK_ENABLE();

  /*Configure GPIO pin Output Level */
  HAL_GPIO_WritePin(GPIOC, NCS_MEMS_SPI_Pin|CSX_Pin|OTG_FS_PSO_Pin, GPIO_PIN_RESET);

  /*Configure GPIO pin Output Level */
  HAL_GPIO_WritePin(ACP_RST_GPIO_Port, ACP_RST_Pin, GPIO_PIN_RESET);

  /*Configure GPIO pin Output Level */
  HAL_GPIO_WritePin(GPIOD, RDX_Pin|WRX_DCX_Pin, GPIO_PIN_RESET);

  /*Configure GPIO pin Output Level */
  HAL_GPIO_WritePin(GPIOG, LD3_Pin|LD4_Pin, GPIO_PIN_RESET);

  /*Configure GPIO pins : A0_Pin A1_Pin A2_Pin A3_Pin
                           A4_Pin A5_Pin SDNRAS_Pin A6_Pin
                           A7_Pin A8_Pin A9_Pin */
  GPIO_InitStruct.Pin = A0_Pin|A1_Pin|A2_Pin|A3_Pin
                          |A4_Pin|A5_Pin|SDNRAS_Pin|A6_Pin
                          |A7_Pin|A8_Pin|A9_Pin;
  GPIO_InitStruct.Mode = GPIO_MODE_AF_PP;
  GPIO_InitStruct.Pull = GPIO_NOPULL;
  GPIO_InitStruct.Speed = GPIO_SPEED_FREQ_VERY_HIGH;
  GPIO_InitStruct.Alternate = GPIO_AF12_FMC;
  HAL_GPIO_Init(GPIOF, &GPIO_InitStruct);

  /*Configure GPIO pins : SPI5_SCK_Pin SPI5_MISO_Pin SPI5_MOSI_Pin */
  GPIO_InitStruct.Pin = SPI5_SCK_Pin|SPI5_MISO_Pin|SPI5_MOSI_Pin;
  GPIO_InitStruct.Mode = GPIO_MODE_AF_PP;
  GPIO_InitStruct.Pull = GPIO_NOPULL;
  GPIO_InitStruct.Speed = GPIO_SPEED_FREQ_LOW;
  GPIO_InitStruct.Alternate = GPIO_AF5_SPI5;
  HAL_GPIO_Init(GPIOF, &GPIO_InitStruct);

  /*Configure GPIO pin : ENABLE_Pin */
  GPIO_InitStruct.Pin = ENABLE_Pin;
  GPIO_InitStruct.Mode = GPIO_MODE_AF_PP;
  GPIO_InitStruct.Pull = GPIO_NOPULL;
  GPIO_InitStruct.Speed = GPIO_SPEED_FREQ_LOW;
  GPIO_InitStruct.Alternate = GPIO_AF14_LTDC;
  HAL_GPIO_Init(ENABLE_GPIO_Port, &GPIO_InitStruct);

  /*Configure GPIO pin : SDNWE_Pin */
  GPIO_InitStruct.Pin = SDNWE_Pin;
  GPIO_InitStruct.Mode = GPIO_MODE_AF_PP;
  GPIO_InitStruct.Pull = GPIO_NOPULL;
  GPIO_InitStruct.Speed = GPIO_SPEED_FREQ_VERY_HIGH;
  GPIO_InitStruct.Alternate = GPIO_AF12_FMC;
  HAL_GPIO_Init(SDNWE_GPIO_Port, &GPIO_InitStruct);

  /*Configure GPIO pins : NCS_MEMS_SPI_Pin CSX_Pin OTG_FS_PSO_Pin */
  GPIO_InitStruct.Pin = NCS_MEMS_SPI_Pin|CSX_Pin|OTG_FS_PSO_Pin;
  GPIO_InitStruct.Mode = GPIO_MODE_OUTPUT_PP;
  GPIO_InitStruct.Pull = GPIO_NOPULL;
  GPIO_InitStruct.Speed = GPIO_SPEED_FREQ_LOW;
  HAL_GPIO_Init(GPIOC, &GPIO_InitStruct);

  /*Configure GPIO pins : B1_Pin MEMS_INT1_Pin MEMS_INT2_Pin TP_INT1_Pin */
  GPIO_InitStruct.Pin = B1_Pin|MEMS_INT1_Pin|MEMS_INT2_Pin|TP_INT1_Pin;
  GPIO_InitStruct.Mode = GPIO_MODE_EVT_RISING;
  GPIO_InitStruct.Pull = GPIO_NOPULL;
  HAL_GPIO_Init(GPIOA, &GPIO_InitStruct);

  /*Configure GPIO pins : B5_Pin VSYNC_Pin G2_Pin R4_Pin
                           R5_Pin */
  GPIO_InitStruct.Pin = B5_Pin|VSYNC_Pin|G2_Pin|R4_Pin
                          |R5_Pin;
  GPIO_InitStruct.Mode = GPIO_MODE_AF_PP;
  GPIO_InitStruct.Pull = GPIO_NOPULL;
  GPIO_InitStruct.Speed = GPIO_SPEED_FREQ_LOW;
  GPIO_InitStruct.Alternate = GPIO_AF14_LTDC;
  HAL_GPIO_Init(GPIOA, &GPIO_InitStruct);

  /*Configure GPIO pin : ACP_RST_Pin */
  GPIO_InitStruct.Pin = ACP_RST_Pin;
  GPIO_InitStruct.Mode = GPIO_MODE_OUTPUT_PP;
  GPIO_InitStruct.Pull = GPIO_NOPULL;
  GPIO_InitStruct.Speed = GPIO_SPEED_FREQ_LOW;
  HAL_GPIO_Init(ACP_RST_GPIO_Port, &GPIO_InitStruct);

  /*Configure GPIO pin : OTG_FS_OC_Pin */
  GPIO_InitStruct.Pin = OTG_FS_OC_Pin;
  GPIO_InitStruct.Mode = GPIO_MODE_EVT_RISING;
  GPIO_InitStruct.Pull = GPIO_NOPULL;
  HAL_GPIO_Init(OTG_FS_OC_GPIO_Port, &GPIO_InitStruct);

  /*Configure GPIO pins : R3_Pin R6_Pin */
  GPIO_InitStruct.Pin = R3_Pin|R6_Pin;
  GPIO_InitStruct.Mode = GPIO_MODE_AF_PP;
  GPIO_InitStruct.Pull = GPIO_NOPULL;
  GPIO_InitStruct.Speed = GPIO_SPEED_FREQ_LOW;
  GPIO_InitStruct.Alternate = GPIO_AF9_LTDC;
  HAL_GPIO_Init(GPIOB, &GPIO_InitStruct);

  /*Configure GPIO pin : BOOT1_Pin */
  GPIO_InitStruct.Pin = BOOT1_Pin;
  GPIO_InitStruct.Mode = GPIO_MODE_INPUT;
  GPIO_InitStruct.Pull = GPIO_NOPULL;
  HAL_GPIO_Init(BOOT1_GPIO_Port, &GPIO_InitStruct);

  /*Configure GPIO pins : A10_Pin A11_Pin BA0_Pin BA1_Pin
                           SDCLK_Pin SDNCAS_Pin */
  GPIO_InitStruct.Pin = A10_Pin|A11_Pin|BA0_Pin|BA1_Pin
                          |SDCLK_Pin|SDNCAS_Pin;
  GPIO_InitStruct.Mode = GPIO_MODE_AF_PP;
  GPIO_InitStruct.Pull = GPIO_NOPULL;
  GPIO_InitStruct.Speed = GPIO_SPEED_FREQ_VERY_HIGH;
  GPIO_InitStruct.Alternate = GPIO_AF12_FMC;
  HAL_GPIO_Init(GPIOG, &GPIO_InitStruct);

  /*Configure GPIO pins : D4_Pin D5_Pin D6_Pin D7_Pin
                           D8_Pin D9_Pin D10_Pin D11_Pin
                           D12_Pin NBL0_Pin NBL1_Pin */
  GPIO_InitStruct.Pin = D4_Pin|D5_Pin|D6_Pin|D7_Pin
                          |D8_Pin|D9_Pin|D10_Pin|D11_Pin
                          |D12_Pin|NBL0_Pin|NBL1_Pin;
  GPIO_InitStruct.Mode = GPIO_MODE_AF_PP;
  GPIO_InitStruct.Pull = GPIO_NOPULL;
  GPIO_InitStruct.Speed = GPIO_SPEED_FREQ_VERY_HIGH;
  GPIO_InitStruct.Alternate = GPIO_AF12_FMC;
  HAL_GPIO_Init(GPIOE, &GPIO_InitStruct);

  /*Configure GPIO pins : G4_Pin G5_Pin B6_Pin B7_Pin */
  GPIO_InitStruct.Pin = G4_Pin|G5_Pin|B6_Pin|B7_Pin;
  GPIO_InitStruct.Mode = GPIO_MODE_AF_PP;
  GPIO_InitStruct.Pull = GPIO_NOPULL;
  GPIO_InitStruct.Speed = GPIO_SPEED_FREQ_LOW;
  GPIO_InitStruct.Alternate = GPIO_AF14_LTDC;
  HAL_GPIO_Init(GPIOB, &GPIO_InitStruct);

  /*Configure GPIO pins : OTG_HS_ID_Pin OTG_HS_DM_Pin OTG_HS_DP_Pin */
  GPIO_InitStruct.Pin = OTG_HS_ID_Pin|OTG_HS_DM_Pin|OTG_HS_DP_Pin;
  GPIO_InitStruct.Mode = GPIO_MODE_AF_PP;
  GPIO_InitStruct.Pull = GPIO_NOPULL;
  GPIO_InitStruct.Speed = GPIO_SPEED_FREQ_LOW;
  GPIO_InitStruct.Alternate = GPIO_AF12_OTG_HS_FS;
  HAL_GPIO_Init(GPIOB, &GPIO_InitStruct);

  /*Configure GPIO pin : VBUS_HS_Pin */
  GPIO_InitStruct.Pin = VBUS_HS_Pin;
  GPIO_InitStruct.Mode = GPIO_MODE_INPUT;
  GPIO_InitStruct.Pull = GPIO_NOPULL;
  HAL_GPIO_Init(VBUS_HS_GPIO_Port, &GPIO_InitStruct);

  /*Configure GPIO pins : D13_Pin D14_Pin D15_Pin D0_Pin
                           D1_Pin D2_Pin D3_Pin */
  GPIO_InitStruct.Pin = D13_Pin|D14_Pin|D15_Pin|D0_Pin
                          |D1_Pin|D2_Pin|D3_Pin;
  GPIO_InitStruct.Mode = GPIO_MODE_AF_PP;
  GPIO_InitStruct.Pull = GPIO_NOPULL;
  GPIO_InitStruct.Speed = GPIO_SPEED_FREQ_VERY_HIGH;
  GPIO_InitStruct.Alternate = GPIO_AF12_FMC;
  HAL_GPIO_Init(GPIOD, &GPIO_InitStruct);

  /*Configure GPIO pin : TE_Pin */
  GPIO_InitStruct.Pin = TE_Pin;
  GPIO_InitStruct.Mode = GPIO_MODE_INPUT;
  GPIO_InitStruct.Pull = GPIO_NOPULL;
  HAL_GPIO_Init(TE_GPIO_Port, &GPIO_InitStruct);

  /*Configure GPIO pins : RDX_Pin WRX_DCX_Pin */
  GPIO_InitStruct.Pin = RDX_Pin|WRX_DCX_Pin;
  GPIO_InitStruct.Mode = GPIO_MODE_OUTPUT_PP;
  GPIO_InitStruct.Pull = GPIO_NOPULL;
  GPIO_InitStruct.Speed = GPIO_SPEED_FREQ_LOW;
  HAL_GPIO_Init(GPIOD, &GPIO_InitStruct);

  /*Configure GPIO pins : R7_Pin DOTCLK_Pin B3_Pin */
  GPIO_InitStruct.Pin = R7_Pin|DOTCLK_Pin|B3_Pin;
  GPIO_InitStruct.Mode = GPIO_MODE_AF_PP;
  GPIO_InitStruct.Pull = GPIO_NOPULL;
  GPIO_InitStruct.Speed = GPIO_SPEED_FREQ_LOW;
  GPIO_InitStruct.Alternate = GPIO_AF14_LTDC;
  HAL_GPIO_Init(GPIOG, &GPIO_InitStruct);

  /*Configure GPIO pins : HSYNC_Pin G6_Pin R2_Pin */
  GPIO_InitStruct.Pin = HSYNC_Pin|G6_Pin|R2_Pin;
  GPIO_InitStruct.Mode = GPIO_MODE_AF_PP;
  GPIO_InitStruct.Pull = GPIO_NOPULL;
  GPIO_InitStruct.Speed = GPIO_SPEED_FREQ_LOW;
  GPIO_InitStruct.Alternate = GPIO_AF14_LTDC;
  HAL_GPIO_Init(GPIOC, &GPIO_InitStruct);

  /*Configure GPIO pin : I2C3_SDA_Pin */
  GPIO_InitStruct.Pin = I2C3_SDA_Pin;
  GPIO_InitStruct.Mode = GPIO_MODE_AF_OD;
  GPIO_InitStruct.Pull = GPIO_NOPULL;
  GPIO_InitStruct.Speed = GPIO_SPEED_FREQ_LOW;
  GPIO_InitStruct.Alternate = GPIO_AF4_I2C3;
  HAL_GPIO_Init(I2C3_SDA_GPIO_Port, &GPIO_InitStruct);

  /*Configure GPIO pin : I2C3_SCL_Pin */
  GPIO_InitStruct.Pin = I2C3_SCL_Pin;
  GPIO_InitStruct.Mode = GPIO_MODE_AF_OD;
  GPIO_InitStruct.Pull = GPIO_NOPULL;
  GPIO_InitStruct.Speed = GPIO_SPEED_FREQ_LOW;
  GPIO_InitStruct.Alternate = GPIO_AF4_I2C3;
  HAL_GPIO_Init(I2C3_SCL_GPIO_Port, &GPIO_InitStruct);

  /*Configure GPIO pins : G7_Pin B2_Pin */
  GPIO_InitStruct.Pin = G7_Pin|B2_Pin;
  GPIO_InitStruct.Mode = GPIO_MODE_AF_PP;
  GPIO_InitStruct.Pull = GPIO_NOPULL;
  GPIO_InitStruct.Speed = GPIO_SPEED_FREQ_LOW;
  GPIO_InitStruct.Alternate = GPIO_AF14_LTDC;
  HAL_GPIO_Init(GPIOD, &GPIO_InitStruct);

  /*Configure GPIO pins : G3_Pin B4_Pin */
  GPIO_InitStruct.Pin = G3_Pin|B4_Pin;
  GPIO_InitStruct.Mode = GPIO_MODE_AF_PP;
  GPIO_InitStruct.Pull = GPIO_NOPULL;
  GPIO_InitStruct.Speed = GPIO_SPEED_FREQ_LOW;
  GPIO_InitStruct.Alternate = GPIO_AF9_LTDC;
  HAL_GPIO_Init(GPIOG, &GPIO_InitStruct);

  /*Configure GPIO pins : LD3_Pin LD4_Pin */
  GPIO_InitStruct.Pin = LD3_Pin|LD4_Pin;
  GPIO_InitStruct.Mode = GPIO_MODE_OUTPUT_PP;
  GPIO_InitStruct.Pull = GPIO_NOPULL;
  GPIO_InitStruct.Speed = GPIO_SPEED_FREQ_LOW;
  HAL_GPIO_Init(GPIOG, &GPIO_InitStruct);

  /*Configure GPIO pins : SDCKE1_Pin SDNE1_Pin */
  GPIO_InitStruct.Pin = SDCKE1_Pin|SDNE1_Pin;
  GPIO_InitStruct.Mode = GPIO_MODE_AF_PP;
  GPIO_InitStruct.Pull = GPIO_NOPULL;
  GPIO_InitStruct.Speed = GPIO_SPEED_FREQ_VERY_HIGH;
  GPIO_InitStruct.Alternate = GPIO_AF12_FMC;
  HAL_GPIO_Init(GPIOB, &GPIO_InitStruct);

}

void Error_Handler(void)
{
  __disable_irq();
  while (1)
  {
  }
}
